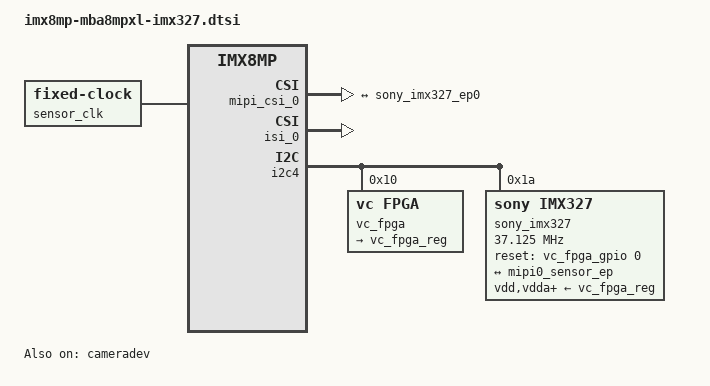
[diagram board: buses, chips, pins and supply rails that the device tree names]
// SPDX-License-Identifier: (GPL-2.0-or-later OR MIT)
/*
 * Copyright 2021 TQ-Systems GmbH
 */

/ {
	sensor_clk: sensor-clk {
		#clock-cells = <0>;
		compatible = "fixed-clock";
		clock-frequency = <37125000>;
	};
};

&cameradev {
	status = "okay";
};

/*
 * Dual use: Trigger / Sync / Enable for mipi_csi_0
 */
&ecspi1 {
	status = "disabled";
};

&mipi_csi_0 {
	#address-cells = <1>;
	#size-cells = <0>;
	status = "okay";
	port@0 {
		reg = <0>;
		mipi0_sensor_ep: endpoint {
			remote-endpoint = <&sony_imx327_ep0>;
			data-lanes = <2>;
			csis-hs-settle = <13>;
			csis-clk-settle = <2>;
			csis-wclk;
		};
	};
};

&isi_0 {
	status = "okay";
	cap_device {
		status = "okay";
	};
};

&i2c4 {
	vc_fpga: fpga@10 {
		reg = <0x10>;
		compatible = "vc,fpga";

		vc_fpga_reg: regulator {
			regulator-name = "CAM_VCC";
		};

		vc_fpga_reset: reset {
			#reset-cells = <0>;
		};

		vc_fpga_gpio: gpio-chip {
			gpio-controller;
			#gpio-cells = <2>;
		};
	};

	sony_imx327: camera@1a {
		#address-cells = <0x1>;
		#size-cells = <0x0>;
		reg = <0x1a>;

		compatible = "sony,imx327", "sony,imx290";

		clock-names = "xclk";
		clocks = <&sensor_clk>;
		clock-frequency = <37125000>;

		vdd-supply = <&vc_fpga_reg>;

		vdda-supply = <&vc_fpga_reg>;
		vddd-supply = <&vc_fpga_reg>;
		vdddo-supply = <&vc_fpga_reg>;

		reset-gpios = <&vc_fpga_gpio 0 GPIO_ACTIVE_HIGH>;

		port@0 {
			reg = <0>;

			sony_imx327_ep0: endpoint {
				remote-endpoint = <&mipi0_sensor_ep>;
				data-lanes = <1 2>;
				clock-lanes = <0>;
				clock-noncontinuous = <1>;
				link-frequencies = /bits/ 64 <445500000 297000000>;
			};
		};
	};
};

